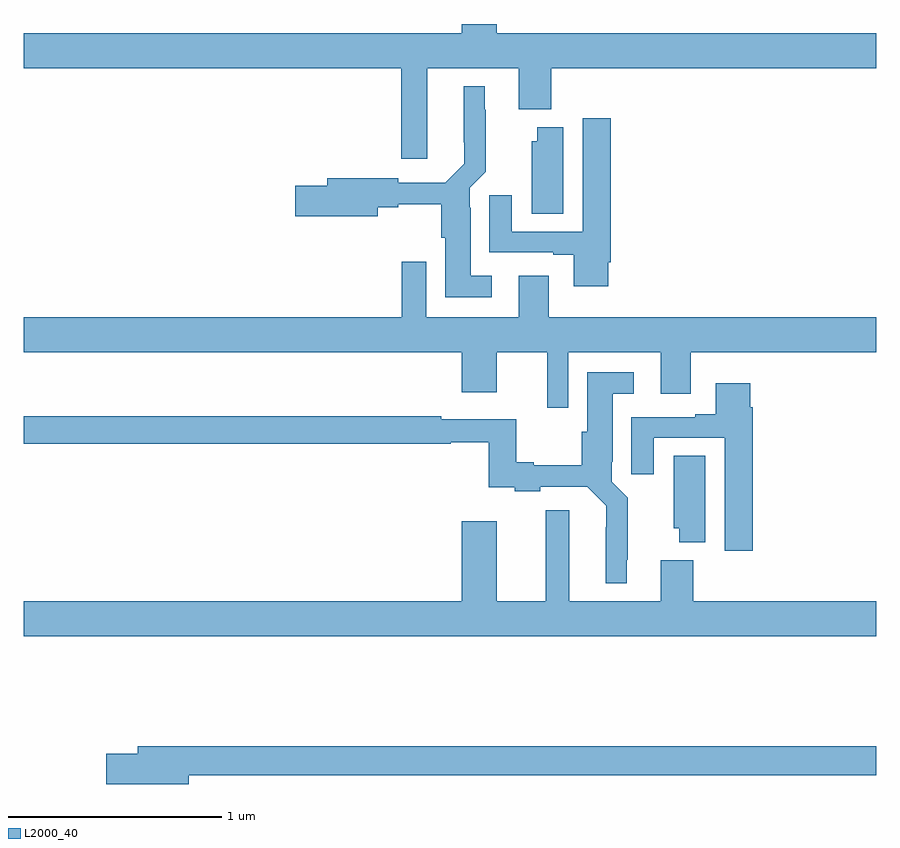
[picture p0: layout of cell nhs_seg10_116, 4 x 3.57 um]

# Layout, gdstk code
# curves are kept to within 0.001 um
import gdstk
lib = gdstk.Library(unit=1e-6, precision=1e-09)
def P(c, l, *ps):  # polygons
    for p in ps: c.add(gdstk.Polygon(p, *l))
L2000_40 = (2000, 40)

nhs_seg10_116 = lib.new_cell('nhs_seg10_116')
P(nhs_seg10_116, L2000_40, [(116.893,1324.292),(117.323,1324.292),(117.323,1324.1),(117.476,1324.1),(117.476,1324.292),(119,1324.292),(119,1324.456),(117.22,1324.456),(117.22,1324.5),(117.056,1324.5),(117.056,1324.456),(115,1324.456),(115,1324.292),(116.771,1324.292),(116.771,1323.867),(116.893,1323.867)],
  [(117.196,1323.319),(117.097,1323.319),(117.097,1323.638),(117.093,1323.638),(117.093,1323.732),(117.167,1323.806),(117.167,1324.097),(117.163,1324.097),(117.163,1324.207),(117.065,1324.207),(117.066,1323.844),(116.978,1323.756),(116.758,1323.756),(116.758,1323.776),(116.423,1323.776),(116.423,1323.74),(116.274,1323.74),(116.274,1323.598),(116.662,1323.598),(116.662,1323.64),(116.758,1323.64),(116.758,1323.655),(116.96,1323.655),(116.96,1323.498),(116.978,1323.498),(116.978,1323.218),(117.196,1323.218)],
  [(117.742,1323.382),(117.755,1323.382),(117.755,1324.057),(117.623,1324.057),(117.623,1323.525),(117.289,1323.525),(117.289,1323.697),(117.185,1323.697),(117.185,1323.429),(117.485,1323.429),(117.485,1323.417),(117.581,1323.417),(117.581,1323.27),(117.742,1323.27)],
  [(117.532,1324.015),(117.41,1324.015),(117.41,1323.951),(117.383,1323.951),(117.383,1323.61),(117.532,1323.61)],
  [(117.555,1322.96),(117.989,1322.96),(117.989,1322.766),(118.129,1322.766),(118.129,1322.96),(119,1322.96),(119,1323.124),(117.463,1323.124),(117.463,1323.319),(117.323,1323.319),(117.323,1323.124),(116.889,1323.124),(116.889,1323.385),(116.773,1323.385),(116.773,1323.124),(115,1323.124),(115,1322.96),(117.056,1322.96),(117.056,1322.772),(117.22,1322.772),(117.22,1322.96),(117.457,1322.96),(117.457,1322.7),(117.555,1322.7)],
  [(117.829,1321.987),(117.833,1321.987),(117.833,1322.278),(117.759,1322.352),(117.759,1322.446),(117.763,1322.446),(117.763,1322.765),(117.862,1322.765),(117.862,1322.866),(117.644,1322.866),(117.644,1322.586),(117.619,1322.586),(117.619,1322.429),(117.394,1322.429),(117.394,1322.444),(117.31,1322.444),(117.31,1322.646),(116.96,1322.646),(116.96,1322.659),(115,1322.659),(115,1322.53),(117.004,1322.53),(117.004,1322.538),(117.181,1322.538),(117.181,1322.327),(117.304,1322.327),(117.304,1322.308),(117.423,1322.308),(117.423,1322.328),(117.644,1322.328),(117.732,1322.24),(117.731,1321.877),(117.829,1321.877)],
  [(118.421,1322.702),(118.408,1322.702),(118.408,1322.815),(118.247,1322.815),(118.247,1322.668),(118.151,1322.668),(118.151,1322.655),(117.851,1322.655),(117.851,1322.388),(117.955,1322.388),(117.955,1322.559),(118.289,1322.559),(118.289,1322.028),(118.421,1322.028)],
  [(118.198,1322.474),(118.049,1322.474),(118.049,1322.133),(118.076,1322.133),(118.076,1322.069),(118.198,1322.069)],
  [(119,1321.792),(118.142,1321.792),(118.142,1321.984),(117.989,1321.984),(117.989,1321.792),(117.559,1321.792),(117.559,1322.218),(117.449,1322.218),(117.449,1321.792),(117.22,1321.792),(117.22,1322.167),(117.056,1322.167),(117.056,1321.792),(115,1321.792),(115,1321.628),(119,1321.628)],
  [(115.774,1320.976),(119,1320.976),(119,1321.112),(115.535,1321.112),(115.535,1321.076),(115.386,1321.076),(115.386,1320.934),(115.774,1320.934)])

lib.write_gds('nhs_seg10_116.gds')
